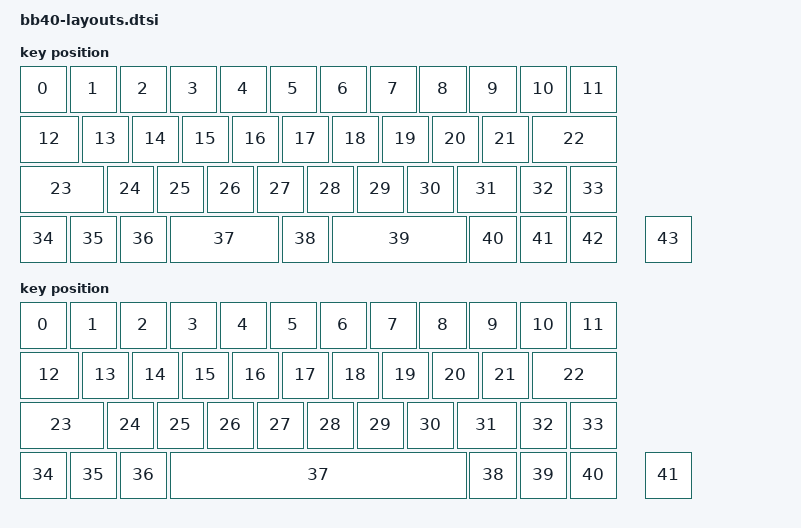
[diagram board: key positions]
/*
 * Copyright (c) 2024 The ZMK Contributors
 *
 * SPDX-License-Identifier: MIT
 */

#include <physical_layouts.dtsi>

/ {
    chosen {
        zmk,physical-layout = &split_space_layout;
    };

    split_space_layout: keymap_layout_0 {
        compatible = "zmk,physical-layout";
        display-name = "2.25u/1u/2.75u";

        transform = <&split_space_transform>;
        keys  //                     w   h    x    y     rot   rx   ry
            = <&key_physical_attrs 100 100    0    0       0    0    0>
            , <&key_physical_attrs 100 100  100    0       0    0    0>
            , <&key_physical_attrs 100 100  200    0       0    0    0>
            , <&key_physical_attrs 100 100  300    0       0    0    0>
            , <&key_physical_attrs 100 100  400    0       0    0    0>
            , <&key_physical_attrs 100 100  500    0       0    0    0>
            , <&key_physical_attrs 100 100  600    0       0    0    0>
            , <&key_physical_attrs 100 100  700    0       0    0    0>
            , <&key_physical_attrs 100 100  800    0       0    0    0>
            , <&key_physical_attrs 100 100  900    0       0    0    0>
            , <&key_physical_attrs 100 100 1000    0       0    0    0>
            , <&key_physical_attrs 100 100 1100    0       0    0    0>
            , <&key_physical_attrs 125 100    0  100       0    0    0>
            , <&key_physical_attrs 100 100  125  100       0    0    0>
            , <&key_physical_attrs 100 100  225  100       0    0    0>
            , <&key_physical_attrs 100 100  325  100       0    0    0>
            , <&key_physical_attrs 100 100  425  100       0    0    0>
            , <&key_physical_attrs 100 100  525  100       0    0    0>
            , <&key_physical_attrs 100 100  625  100       0    0    0>
            , <&key_physical_attrs 100 100  725  100       0    0    0>
            , <&key_physical_attrs 100 100  825  100       0    0    0>
            , <&key_physical_attrs 100 100  925  100       0    0    0>
            , <&key_physical_attrs 175 100 1025  100       0    0    0>
            , <&key_physical_attrs 175 100    0  200       0    0    0>
            , <&key_physical_attrs 100 100  175  200       0    0    0>
            , <&key_physical_attrs 100 100  275  200       0    0    0>
            , <&key_physical_attrs 100 100  375  200       0    0    0>
            , <&key_physical_attrs 100 100  475  200       0    0    0>
            , <&key_physical_attrs 100 100  575  200       0    0    0>
            , <&key_physical_attrs 100 100  675  200       0    0    0>
            , <&key_physical_attrs 100 100  775  200       0    0    0>
            , <&key_physical_attrs 125 100  875  200       0    0    0>
            , <&key_physical_attrs 100 100 1000  200       0    0    0>
            , <&key_physical_attrs 100 100 1100  200       0    0    0>
            , <&key_physical_attrs 100 100    0  300       0    0    0>
            , <&key_physical_attrs 100 100  100  300       0    0    0>
            , <&key_physical_attrs 100 100  200  300       0    0    0>
            , <&key_physical_attrs 225 100  300  300       0    0    0>
            , <&key_physical_attrs 100 100  525  300       0    0    0>
            , <&key_physical_attrs 275 100  625  300       0    0    0>
            , <&key_physical_attrs 100 100  900  300       0    0    0>
            , <&key_physical_attrs 100 100 1000  300       0    0    0>
            , <&key_physical_attrs 100 100 1100  300       0    0    0>
            , <&key_physical_attrs 100 100 1250  300       0    0    0>
            ;
    };

    full_space_layout: keymap_layout_1 {
        compatible = "zmk,physical-layout";
        display-name = "6u";

        transform = <&full_space_transform>;
        keys  //                     w   h    x    y     rot   rx   ry
            = <&key_physical_attrs 100 100    0    0       0    0    0>
            , <&key_physical_attrs 100 100  100    0       0    0    0>
            , <&key_physical_attrs 100 100  200    0       0    0    0>
            , <&key_physical_attrs 100 100  300    0       0    0    0>
            , <&key_physical_attrs 100 100  400    0       0    0    0>
            , <&key_physical_attrs 100 100  500    0       0    0    0>
            , <&key_physical_attrs 100 100  600    0       0    0    0>
            , <&key_physical_attrs 100 100  700    0       0    0    0>
            , <&key_physical_attrs 100 100  800    0       0    0    0>
            , <&key_physical_attrs 100 100  900    0       0    0    0>
            , <&key_physical_attrs 100 100 1000    0       0    0    0>
            , <&key_physical_attrs 100 100 1100    0       0    0    0>
            , <&key_physical_attrs 125 100    0  100       0    0    0>
            , <&key_physical_attrs 100 100  125  100       0    0    0>
            , <&key_physical_attrs 100 100  225  100       0    0    0>
            , <&key_physical_attrs 100 100  325  100       0    0    0>
            , <&key_physical_attrs 100 100  425  100       0    0    0>
            , <&key_physical_attrs 100 100  525  100       0    0    0>
            , <&key_physical_attrs 100 100  625  100       0    0    0>
            , <&key_physical_attrs 100 100  725  100       0    0    0>
            , <&key_physical_attrs 100 100  825  100       0    0    0>
            , <&key_physical_attrs 100 100  925  100       0    0    0>
            , <&key_physical_attrs 175 100 1025  100       0    0    0>
            , <&key_physical_attrs 175 100    0  200       0    0    0>
            , <&key_physical_attrs 100 100  175  200       0    0    0>
            , <&key_physical_attrs 100 100  275  200       0    0    0>
            , <&key_physical_attrs 100 100  375  200       0    0    0>
            , <&key_physical_attrs 100 100  475  200       0    0    0>
            , <&key_physical_attrs 100 100  575  200       0    0    0>
            , <&key_physical_attrs 100 100  675  200       0    0    0>
            , <&key_physical_attrs 100 100  775  200       0    0    0>
            , <&key_physical_attrs 125 100  875  200       0    0    0>
            , <&key_physical_attrs 100 100 1000  200       0    0    0>
            , <&key_physical_attrs 100 100 1100  200       0    0    0>
            , <&key_physical_attrs 100 100    0  300       0    0    0>
            , <&key_physical_attrs 100 100  100  300       0    0    0>
            , <&key_physical_attrs 100 100  200  300       0    0    0>
            , <&key_physical_attrs 600 100  300  300       0    0    0>
            , <&key_physical_attrs 100 100  900  300       0    0    0>
            , <&key_physical_attrs 100 100 1000  300       0    0    0>
            , <&key_physical_attrs 100 100 1100  300       0    0    0>
            , <&key_physical_attrs 100 100 1250  300       0    0    0>
            ;
    };

    position_map {
        compatible = "zmk,physical-layout-position-map";
        split_space_map {
            physical-layout = <&split_space_layout>;
            positions
                = < 37 38 39 >;
        };

        full_space_map {
            physical-layout = <&full_space_layout>;
            positions
                = < 42 37 43 >;
        };
    };
};
